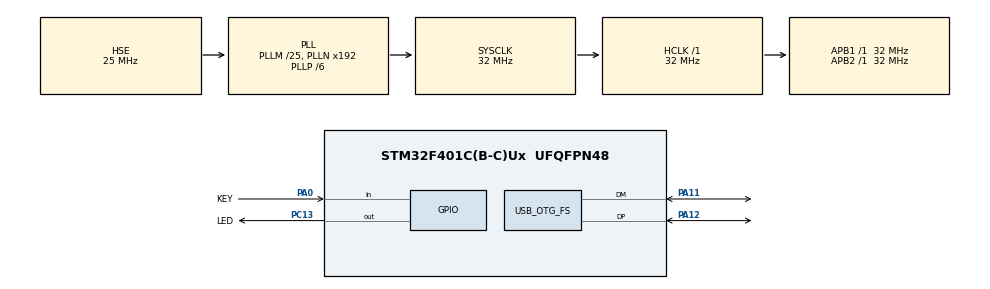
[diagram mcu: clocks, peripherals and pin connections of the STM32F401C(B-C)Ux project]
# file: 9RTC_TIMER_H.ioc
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Mcu.Family=STM32F4
Mcu.Name=STM32F401C(B-C)Ux
Mcu.Package=UFQFPN48
NVIC.OTG_FS_IRQn=true\:0\:0\:false\:false\:true\:false\:true
NVIC.PriorityGroup=NVIC_PRIORITYGROUP_4
PA0-WKUP.GPIO_Label=KEY
PA0-WKUP.GPIO_PuPd=GPIO_PULLUP
PA0-WKUP.Signal=GPIO_Input
PA11.Mode=Device_Only
PA11.Signal=USB_OTG_FS_DM
PA12.Mode=Device_Only
PA12.Signal=USB_OTG_FS_DP
PA13.Mode=Serial_Wire
PA13.Signal=SYS_JTMS-SWDIO
PA14.Mode=Serial_Wire
PA14.Signal=SYS_JTCK-SWCLK
PC13-ANTI_TAMP.GPIO_Label=LED
PC13-ANTI_TAMP.PinState=GPIO_PIN_SET
PC13-ANTI_TAMP.Signal=GPIO_Output
PC14-OSC32_IN.Mode=LSE-External-Oscillator
PC14-OSC32_IN.Signal=RCC_OSC32_IN
PC15-OSC32_OUT.Mode=LSE-External-Oscillator
PC15-OSC32_OUT.Signal=RCC_OSC32_OUT
PH0\ -\ OSC_IN.Mode=HSE-External-Oscillator
PH0\ -\ OSC_IN.Signal=RCC_OSC_IN
PH1\ -\ OSC_OUT.Mode=HSE-External-Oscillator
PH1\ -\ OSC_OUT.Signal=RCC_OSC_OUT
ProjectManager.HeapSize=0x200
ProjectManager.StackSize=0x400
ProjectManager.TargetToolchain=STM32CubeIDE
RCC.48MHZClocksFreq_Value=48000000
RCC.AHBFreq_Value=32000000
RCC.APB1Freq_Value=32000000
RCC.APB1TimFreq_Value=32000000
RCC.APB2Freq_Value=32000000
RCC.APB2TimFreq_Value=32000000
RCC.CortexFreq_Value=32000000
RCC.HCLKFreq_Value=32000000
RCC.HSE_VALUE=25000000
RCC.HSI_VALUE=16000000
RCC.PLLM=25
RCC.PLLP=RCC_PLLP_DIV6
RCC.RCC_RTC_Clock_Source=RCC_RTCCLKSOURCE_LSE
RCC.SYSCLKFreq_VALUE=32000000
RCC.SYSCLKSource=RCC_SYSCLKSOURCE_PLLCLK
RCC.VCOOutputFreq_Value=192000000
RTC.Date=18
RTC.Hours=12
RTC.Month=RTC_MONTH_FEBRUARY
RTC.WeekDay=RTC_WEEKDAY_FRIDAY
RTC.Year=22
USB_DEVICE.CLASS_NAME_FS=CDC
USB_DEVICE.VirtualMode=Cdc
USB_DEVICE.VirtualModeFS=Cdc_FS
USB_OTG_FS.VirtualMode=Device_Only
VP_RTC_VS_RTC_Activate.Mode=RTC_Enabled
VP_RTC_VS_RTC_Calendar.Mode=RTC_Calendar
VP_USB_DEVICE_VS_USB_DEVICE_CDC_FS.Mode=CDC_FS
board=custom

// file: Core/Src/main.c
/* USER CODE BEGIN Header */
/**
  ******************************************************************************
  * @file           : main.c
  * @brief          : Main program body
  ******************************************************************************
  * @attention
  *
  * Copyright (c) 2022 STMicroelectronics.
  * All rights reserved.
  *
  * This software is licensed under terms that can be found in the LICENSE file
  * in the root directory of this software component.
  * If no LICENSE file comes with this software, it is provided AS-IS.
  *
  ******************************************************************************
  */
/* USER CODE END Header */
#include "main.h"
#include "usb_device.h"

RTC_HandleTypeDef hrtc;

/* USER CODE BEGIN PV */
char showTime[30] = {0};
char showDate[30] = {0};
uint8_t sFlag = 0;
/* USER CODE END PV */

void SystemClock_Config(void);
static void MX_GPIO_Init(void);
static void MX_RTC_Init(void);

/* USER CODE BEGIN 0 */
void get_time(void)
{
	RTC_TimeTypeDef sTime;
	RTC_DateTypeDef sDate;

	HAL_RTC_GetTime(&hrtc, &sTime, RTC_FORMAT_BIN);
	HAL_RTC_GetDate(&hrtc, &sDate, RTC_FORMAT_BIN);

	sprintf((char*)showTime, "%04d-%02d-%2d\t %02d:%02d.%02d\r\n",2000 + sDate.Year, sDate.Month, sDate.Date,sTime.Hours,sTime.Minutes,sTime.Seconds);

	//sprintf((char*)showTime, "%02d:%02d.%02d\r\n",sTime.Hours,sTime.Minutes,sTime.Seconds);
	//sprintf((char*)showDate,"%04d-%02d-%2d\t\r\n",2000 + sDate.Year, sDate.Month, sDate.Date );
}

void HAL_IncTick(void) // HAL_getTick()
{
    uwTick += uwTickFreq;

    if((uwTick % 1000)==0) //1000mS tick
  {
        sFlag = SET;
  }
}
/*
void set_time(hh,mm,ss)
{
	RTC_TimeTypeDef sTime;

	sTime.Hours = hh;
	sTime.Minutes = mm;
	sTime.Seconds = ss;
	sTime.DayLightSaving = RTC_DAYLIGHTSAVING_NONE;
	sTime.StoreOperation = RTC_STOREOPERATION_RESET;
	if (HAL_RTC_SetTime(&hrtc, &sTime, RTC_FORMAT_BCD) != HAL_OK)
	{
	Error_Handler();
	}
}
*/
/* USER CODE END 0 */

int main(void)
{

  /* MCU Configuration--------------------------------------------------------*/

  /* Reset of all peripherals, Initializes the Flash interface and the Systick. */
  HAL_Init();

  /* Configure the system clock */
  SystemClock_Config();

  /* Initialize all configured peripherals */
  MX_GPIO_Init();
  MX_RTC_Init();
  MX_USB_DEVICE_Init();

  /* Infinite loop */
  /* USER CODE BEGIN WHILE */
  while (1)
  {
    get_time();

    if(sFlag){
    	sFlag = RESET;
    	while(CDC_Transmit_FS(showTime,strlen(showTime))==USBD_OK){}
    	__NOP();

    }

    __NOP();
    /* USER CODE END WHILE */

  }
}

void SystemClock_Config(void)
{
  RCC_OscInitTypeDef RCC_OscInitStruct = {0};
  RCC_ClkInitTypeDef RCC_ClkInitStruct = {0};

  /** Configure the main internal regulator output voltage
  */
  __HAL_RCC_PWR_CLK_ENABLE();
  __HAL_PWR_VOLTAGESCALING_CONFIG(PWR_REGULATOR_VOLTAGE_SCALE2);
  /** Initializes the RCC Oscillators according to the specified parameters
  * in the RCC_OscInitTypeDef structure.
  */
  RCC_OscInitStruct.OscillatorType = RCC_OSCILLATORTYPE_HSE|RCC_OSCILLATORTYPE_LSE;
  RCC_OscInitStruct.HSEState = RCC_HSE_ON;
  RCC_OscInitStruct.LSEState = RCC_LSE_ON;
  RCC_OscInitStruct.PLL.PLLState = RCC_PLL_ON;
  RCC_OscInitStruct.PLL.PLLSource = RCC_PLLSOURCE_HSE;
  RCC_OscInitStruct.PLL.PLLM = 25;
  RCC_OscInitStruct.PLL.PLLN = 192;
  RCC_OscInitStruct.PLL.PLLP = RCC_PLLP_DIV6;
  RCC_OscInitStruct.PLL.PLLQ = 4;
  if (HAL_RCC_OscConfig(&RCC_OscInitStruct) != HAL_OK)
  {
    Error_Handler();
  }
  /** Initializes the CPU, AHB and APB buses clocks
  */
  RCC_ClkInitStruct.ClockType = RCC_CLOCKTYPE_HCLK|RCC_CLOCKTYPE_SYSCLK
                              |RCC_CLOCKTYPE_PCLK1|RCC_CLOCKTYPE_PCLK2;
  RCC_ClkInitStruct.SYSCLKSource = RCC_SYSCLKSOURCE_PLLCLK;
  RCC_ClkInitStruct.AHBCLKDivider = RCC_SYSCLK_DIV1;
  RCC_ClkInitStruct.APB1CLKDivider = RCC_HCLK_DIV1;
  RCC_ClkInitStruct.APB2CLKDivider = RCC_HCLK_DIV1;

  if (HAL_RCC_ClockConfig(&RCC_ClkInitStruct, FLASH_LATENCY_1) != HAL_OK)
  {
    Error_Handler();
  }
}

static void MX_RTC_Init(void)
{

  RTC_TimeTypeDef sTime = {0};
  RTC_DateTypeDef sDate = {0};

  /** Initialize RTC Only
  */
  hrtc.Instance = RTC;
  hrtc.Init.HourFormat = RTC_HOURFORMAT_24;
  hrtc.Init.AsynchPrediv = 127;
  hrtc.Init.SynchPrediv = 255;
  hrtc.Init.OutPut = RTC_OUTPUT_DISABLE;
  hrtc.Init.OutPutPolarity = RTC_OUTPUT_POLARITY_HIGH;
  hrtc.Init.OutPutType = RTC_OUTPUT_TYPE_OPENDRAIN;
  if (HAL_RTC_Init(&hrtc) != HAL_OK)
  {
    Error_Handler();
  }

  /** Initialize RTC and set the Time and Date
  */
  sTime.Hours = 0x12;
  sTime.Minutes = 0x0;
  sTime.Seconds = 0x0;
  sTime.DayLightSaving = RTC_DAYLIGHTSAVING_NONE;
  sTime.StoreOperation = RTC_STOREOPERATION_RESET;
  if (HAL_RTC_SetTime(&hrtc, &sTime, RTC_FORMAT_BCD) != HAL_OK)
  {
    Error_Handler();
  }
  sDate.WeekDay = RTC_WEEKDAY_FRIDAY;
  sDate.Month = RTC_MONTH_FEBRUARY;
  sDate.Date = 0x18;
  sDate.Year = 0x22;

  if (HAL_RTC_SetDate(&hrtc, &sDate, RTC_FORMAT_BCD) != HAL_OK)
  {
    Error_Handler();
  }

}

static void MX_GPIO_Init(void)
{
  GPIO_InitTypeDef GPIO_InitStruct = {0};

  /* GPIO Ports Clock Enable */
  __HAL_RCC_GPIOC_CLK_ENABLE();
  __HAL_RCC_GPIOH_CLK_ENABLE();
  __HAL_RCC_GPIOA_CLK_ENABLE();

  /*Configure GPIO pin Output Level */
  HAL_GPIO_WritePin(LED_GPIO_Port, LED_Pin, GPIO_PIN_SET);

  /*Configure GPIO pin : LED_Pin */
  GPIO_InitStruct.Pin = LED_Pin;
  GPIO_InitStruct.Mode = GPIO_MODE_OUTPUT_PP;
  GPIO_InitStruct.Pull = GPIO_NOPULL;
  GPIO_InitStruct.Speed = GPIO_SPEED_FREQ_LOW;
  HAL_GPIO_Init(LED_GPIO_Port, &GPIO_InitStruct);

  /*Configure GPIO pin : KEY_Pin */
  GPIO_InitStruct.Pin = KEY_Pin;
  GPIO_InitStruct.Mode = GPIO_MODE_INPUT;
  GPIO_InitStruct.Pull = GPIO_PULLUP;
  HAL_GPIO_Init(KEY_GPIO_Port, &GPIO_InitStruct);

}

void Error_Handler(void)
{
  __disable_irq();
  while (1)
  {
  }
}
